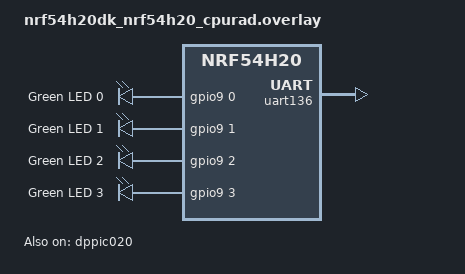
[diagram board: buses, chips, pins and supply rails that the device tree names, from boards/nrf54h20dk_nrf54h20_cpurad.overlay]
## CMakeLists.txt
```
#
# Copyright (c) 2018 Nordic Semiconductor
#
# SPDX-License-Identifier: LicenseRef-Nordic-5-Clause
#
cmake_minimum_required(VERSION 3.20.0)

find_package(Zephyr REQUIRED HINTS $ENV{ZEPHYR_BASE})
project(esb_prx)

FILE(GLOB app_sources src/*.c)
# NORDIC SDK APP START
target_sources(app PRIVATE ${app_sources})
# NORDIC SDK APP END
```

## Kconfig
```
#
# Copyright (c) 2020 Nordic Semiconductor
#
# SPDX-License-Identifier: LicenseRef-Nordic-5-Clause
#

source "Kconfig.zephyr"

menu "Enhanced ShockBurst: Receiver"

config ESB_PRX_APP_LOG_LEVEL
	int "Log level for the ESB PRX sample"
	default 4

endmenu
```

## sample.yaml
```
sample:
  name: ESB prx Sample
tests:
  sample.esb.prx:
    sysbuild: true
    filter: CONFIG_UART_CONSOLE and CONFIG_SERIAL_SUPPORT_INTERRUPT
    harness: keyboard
    integration_platforms:
      - nrf52dk/nrf52832
      - nrf52840dk/nrf52840
      - nrf52dk/nrf52810
    platform_allow: nrf52dk/nrf52832 nrf52840dk/nrf52840 nrf52dk/nrf52810
    tags: esb samples console sysbuild ci_samples_esb
  sample.esb.prx.build:
    sysbuild: true
    build_only: true
    integration_platforms:
      - nrf52dk/nrf52832
      - nrf52833dk/nrf52833
      - nrf52840dk/nrf52840
      - nrf52dk/nrf52810
      - nrf5340dk/nrf5340/cpunet
      - nrf21540dk/nrf52840
      - nrf54h20dk/nrf54h20/cpurad
      - nrf54l15dk/nrf54l15/cpuapp
    platform_allow: >
      nrf52dk/nrf52832
      nrf52833dk/nrf52833
      nrf52840dk/nrf52840
      nrf52dk/nrf52810
      nrf5340dk/nrf5340/cpunet
      nrf21540dk/nrf52840
      nrf54h20dk/nrf54h20/cpurad
      nrf54l15dk/nrf54l15/cpuapp
    tags: esb ci_build sysbuild ci_samples_esb
  sample.esb.prx.dynamic_irq:
    sysbuild: true
    build_only: true
    extra_configs:
      - CONFIG_ESB_DYNAMIC_INTERRUPTS=y
      - CONFIG_DYNAMIC_INTERRUPTS=y
      - CONFIG_DYNAMIC_DIRECT_INTERRUPTS=y
      - CONFIG_MPSL_DYNAMIC_INTERRUPTS=y
    integration_platforms:
      - nrf5340dk/nrf5340/cpunet
      - nrf52840dk/nrf52840
      - nrf54l15dk/nrf54l15/cpuapp
      - nrf54h20dk/nrf54h20/cpurad
    platform_allow: >
      nrf5340dk/nrf5340/cpunet
      nrf52840dk/nrf52840
      nrf54l15dk/nrf54l15/cpuapp
      nrf54h20dk/nrf54h20/cpurad
    tags: esb ci_build sysbuild ci_samples_esb
  sample.esb.prx.nrf5340_nrf21540:
    sysbuild: true
    build_only: true
    extra_args: SHIELD=nrf21540ek
    integration_platforms:
      - nrf5340dk/nrf5340/cpunet
    platform_allow: nrf5340dk/nrf5340/cpunet
    tags: esb ci_build sysbuild ci_samples_esb
  sample.esb.prx.fast_switching:
    sysbuild: true
    build_only: true
    extra_configs:
      - CONFIG_ESB_FAST_SWITCHING=y
      - CONFIG_ESB_FAST_CHANNEL_SWITCHING=y
    integration_platforms:
      - nrf54h20dk/nrf54h20/cpurad
    platform_allow: >
      nrf54h20dk/nrf54h20/cpurad
    tags: esb ci_build sysbuild ci_samples_esb
```

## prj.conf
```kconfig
#
# Copyright (c) 2019 Nordic Semiconductor ASA
#
# SPDX-License-Identifier: LicenseRef-Nordic-5-Clause
#
CONFIG_NCS_SAMPLES_DEFAULTS=y
CONFIG_ESB=y
CONFIG_CLOCK_CONTROL=y
CONFIG_GPIO=y
```

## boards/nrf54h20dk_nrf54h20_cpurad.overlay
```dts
/*
 * Copyright (c) 2024 Nordic Semiconductor ASA
 *
 * SPDX-License-Identifier: LicenseRef-Nordic-5-Clause
 */

 / {
	leds {
		compatible = "gpio-leds";

		led0: led_0 {
			gpios = < &gpio9 0 GPIO_ACTIVE_HIGH >;
			label = "Green LED 0";
		};

		led1: led_1 {
			gpios = < &gpio9 1 GPIO_ACTIVE_HIGH >;
			label = "Green LED 1";
		};

		led2: led_2 {
			gpios = < &gpio9 2 GPIO_ACTIVE_HIGH >;
			label = "Green LED 2";
		};

		led3: led_3 {
			gpios = < &gpio9 3 GPIO_ACTIVE_HIGH >;
			label = "Green LED 3";
		};
	};

	aliases {
		led0 = &led0;
		led1 = &led1;
		led2 = &led2;
		led3 = &led3;
	};

	chosen {
		zephyr,console = &uart136;
	};
};

&gpio9 {
	status = "okay";
};

&gpio0 {
	status = "okay";
};

&gpiote130 {
	owned-channels = <0 1 2 3 4 5 6 7>;
	status = "okay";
};

&uart136 {
	status = "okay";
	memory-regions = <&cpurad_dma_region>;
};

&uart135 {
	status = "disabled";
};

&dppic020 {
	status = "okay";
	source-channels = < 0 1 2 3 4 5 >;
	sink-channels = < 6 7 8 9 10 11 >;
};
```

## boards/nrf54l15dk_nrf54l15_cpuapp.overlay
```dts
/*
 * SPDX-License-Identifier: LicenseRef-Nordic-5-Clause
 */

&grtc {
	/* Keep the Zephyr system timer from preempting ESB event processing. */
	interrupts = <228 2>, <229 1>;
};
```

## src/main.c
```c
/*
 * Copyright (c) 2018 Nordic Semiconductor ASA
 *
 * SPDX-License-Identifier: LicenseRef-Nordic-5-Clause
 */

#include <errno.h>

#include <zephyr/device.h>
#include <zephyr/devicetree.h>
#include <zephyr/drivers/clock_control.h>
#include <zephyr/drivers/clock_control/nrf_clock_control.h>
#include <zephyr/drivers/gpio.h>
#include <zephyr/logging/log.h>

#include <esb.h>
#include <hal/nrf_dppi.h>
#include <hal/nrf_gpio.h>
#include <hal/nrf_gpiote.h>
#include <hal/nrf_ppib.h>
#include <hal/nrf_radio.h>
#include <nrfx_gpiote.h>

LOG_MODULE_REGISTER(esb_prx, CONFIG_ESB_PRX_APP_LOG_LEVEL);

#define ESB_PAYLOAD_LENGTH	8U
#define RX_PULSE_PIN		12U
#define LED1_TOGGLE_PACKET_COUNT	8U
#define LED1_NODE		DT_ALIAS(led0)
#define RX_PULSE_PORT_NODE	DT_NODELABEL(gpio1)
#define RX_PULSE_RADIO_DPPI_CHANNEL	7U
#define RX_PULSE_PERI_DPPI_CHANNEL	1U
#define RX_PULSE_PPIB_CHANNEL	1U
#define RX_PULSE_GPIOTE_INST	\
	DT_PROP(DT_PHANDLE(RX_PULSE_PORT_NODE, gpiote_instance), instance)
#define RX_PULSE_PSEL		\
	NRF_GPIO_PIN_MAP(DT_PROP(RX_PULSE_PORT_NODE, port), RX_PULSE_PIN)

BUILD_ASSERT(IS_ENABLED(_CONCAT(CONFIG_, _CONCAT(NRFX_GPIOTE,
						 RX_PULSE_GPIOTE_INST))),
	     "The P1.12 GPIOTE instance must be enabled");

static const struct device *const rx_pulse_gpio = DEVICE_DT_GET(DT_NODELABEL(gpio1));
static const struct gpio_dt_spec led1 = GPIO_DT_SPEC_GET(LED1_NODE, gpios);
static const nrfx_gpiote_t rx_pulse_gpiote =
	NRFX_GPIOTE_INSTANCE(RX_PULSE_GPIOTE_INST);
static struct esb_payload rx_payload;
static uint8_t received_packets_since_led1_toggle;

static void rx_pulse_end(void)
{
	/* Use GPIOTE's CLR task to release the same task-controlled output. */
	nrfx_gpiote_clr_task_trigger(&rx_pulse_gpiote, RX_PULSE_PSEL);
}

static int rx_pulse_initialize(void)
{
	if (!device_is_ready(rx_pulse_gpio)) {
		LOG_ERR("P1.12 GPIO is not ready");
		return -ENODEV;
	}

	return gpio_pin_configure(rx_pulse_gpio, RX_PULSE_PIN, GPIO_OUTPUT_INACTIVE);
}

static int rx_pulse_hardware_trigger_initialize(void)
{
	const nrfx_gpiote_output_config_t output_config =
	NRFX_GPIOTE_DEFAULT_OUTPUT_CONFIG;
	nrfx_gpiote_task_config_t task_config;
	uint8_t gpiote_channel;
	nrfx_err_t nrfx_err;

	if (!nrfx_gpiote_init_check(&rx_pulse_gpiote)) {
		nrfx_err = nrfx_gpiote_init(&rx_pulse_gpiote, 0);
		if (nrfx_err != NRFX_SUCCESS) {
			LOG_ERR("P1.12 GPIOTE initialization failed: 0x%08x", nrfx_err);
			return -EIO;
		}
	}

	nrfx_err = nrfx_gpiote_channel_alloc(&rx_pulse_gpiote, &gpiote_channel);
	if (nrfx_err != NRFX_SUCCESS) {
		LOG_ERR("P1.12 GPIOTE channel allocation failed: 0x%08x", nrfx_err);
		return -ENOMEM;
	}

	task_config.task_ch = gpiote_channel;
	task_config.polarity = NRF_GPIOTE_POLARITY_LOTOHI;
	task_config.init_val = NRF_GPIOTE_INITIAL_VALUE_LOW;
	nrfx_err = nrfx_gpiote_output_configure(&rx_pulse_gpiote, RX_PULSE_PSEL,
						   &output_config, &task_config);
	if (nrfx_err != NRFX_SUCCESS) {
		LOG_ERR("P1.12 GPIOTE configuration failed: 0x%08x", nrfx_err);
		return -EIO;
	}

	nrfx_gpiote_out_task_enable(&rx_pulse_gpiote, RX_PULSE_PSEL);

	/*
	 * RADIO is in the RADIO domain, while GPIOTE20 (for GPIO1) is in the
	 * PERI domain. PPIB11 and PPIB21 form the hardware bridge between them.
	 * These channels avoid ESB's fixed RADIO DPPI channels 0 through 6 and
	 * MPSL's reserved channel 0 in each peripheral.
	 */
	nrf_radio_publish_set(NRF_RADIO, NRF_RADIO_EVENT_CRCOK,
			      RX_PULSE_RADIO_DPPI_CHANNEL);
	nrf_ppib_subscribe_set(NRF_PPIB11,
			       nrf_ppib_send_task_get(RX_PULSE_PPIB_CHANNEL),
			       RX_PULSE_RADIO_DPPI_CHANNEL);
	nrf_ppib_publish_set(NRF_PPIB21,
			     nrf_ppib_receive_event_get(RX_PULSE_PPIB_CHANNEL),
			     RX_PULSE_PERI_DPPI_CHANNEL);
	nrf_gpiote_subscribe_set(
		rx_pulse_gpiote.p_reg,
		nrfx_gpiote_set_task_get(&rx_pulse_gpiote, RX_PULSE_PSEL),
		RX_PULSE_PERI_DPPI_CHANNEL);
	nrf_dppi_channels_enable(NRF_DPPIC10, BIT(RX_PULSE_RADIO_DPPI_CHANNEL));
	nrf_dppi_channels_enable(NRF_DPPIC20, BIT(RX_PULSE_PERI_DPPI_CHANNEL));

	return 0;
}

static int led1_initialize(void)
{
	if (!gpio_is_ready_dt(&led1)) {
		LOG_ERR("LED1 GPIO is not ready");
		return -ENODEV;
	}

	return gpio_pin_configure_dt(&led1, GPIO_OUTPUT_INACTIVE);
}

static void led1_toggle_after_eight_packets(void)
{
	int err;

	received_packets_since_led1_toggle++;
	if (received_packets_since_led1_toggle < LED1_TOGGLE_PACKET_COUNT) {
		return;
	}

	received_packets_since_led1_toggle = 0U;
	err = gpio_pin_toggle_dt(&led1);
	if (err) {
		LOG_ERR("LED1 toggle failed: %d", err);
	}
}

static void event_handler(const struct esb_evt *event)
{
	if (event->evt_id != ESB_EVENT_RX_RECEIVED) {
		return;
	}

	/* CRCOK raised P1.12 in hardware; end it when ESB delivers the packet. */
	rx_pulse_end();

	while (esb_read_rx_payload(&rx_payload) == 0) {
		led1_toggle_after_eight_packets();
	}
}

static int hfclk_start(void)
{
	int err;
	int res;
	struct onoff_manager *clk_mgr;
	struct onoff_client clk_cli;

	clk_mgr = z_nrf_clock_control_get_onoff(CLOCK_CONTROL_NRF_SUBSYS_HF);
	if (!clk_mgr) {
		LOG_ERR("Unable to get the HF clock manager");
		return -ENXIO;
	}

	sys_notify_init_spinwait(&clk_cli.notify);

	err = onoff_request(clk_mgr, &clk_cli);
	if (err < 0) {
		LOG_ERR("HF clock request failed: %d", err);
		return err;
	}

	do {
		err = sys_notify_fetch_result(&clk_cli.notify, &res);
		if (!err && res) {
			LOG_ERR("HF clock could not start: %d", res);
			return res;
		}
	} while (err);

	return 0;
}

static int esb_initialize(void)
{
	int err;
	uint8_t base_addr_0[4] = {0xE7, 0xE7, 0xE7, 0xE7};
	uint8_t base_addr_1[4] = {0xC2, 0xC2, 0xC2, 0xC2};
	uint8_t addr_prefix[8] = {0xE7, 0xC2, 0xC3, 0xC4,
				  0xC5, 0xC6, 0xC7, 0xC8};
	struct esb_config config = ESB_DEFAULT_CONFIG;

	config.protocol = ESB_PROTOCOL_ESB_DPL;
	config.payload_length = ESB_PAYLOAD_LENGTH;
	config.bitrate = ESB_BITRATE_2MBPS;
	config.mode = ESB_MODE_PRX;
	config.event_handler = event_handler;
	config.selective_auto_ack = true;
	if (IS_ENABLED(CONFIG_ESB_FAST_SWITCHING)) {
		config.use_fast_ramp_up = true;
	}

	err = esb_init(&config);
	if (err) {
		return err;
	}

	err = esb_set_base_address_0(base_addr_0);
	if (err) {
		return err;
	}

	err = esb_set_base_address_1(base_addr_1);
	if (err) {
		return err;
	}

	return esb_set_prefixes(addr_prefix, ARRAY_SIZE(addr_prefix));
}

int main(void)
{
	int err;

	err = rx_pulse_initialize();
	if (err) {
		LOG_ERR("P1.12 initialization failed: %d", err);
		return 0;
	}

	err = led1_initialize();
	if (err) {
		LOG_ERR("LED1 initialization failed: %d", err);
		return 0;
	}

	err = hfclk_start();
	if (err) {
		return 0;
	}

	err = esb_initialize();
	if (err) {
		LOG_ERR("ESB initialization failed: %d", err);
		return 0;
	}

	err = rx_pulse_hardware_trigger_initialize();
	if (err) {
		LOG_ERR("P1.12 hardware marker initialization failed: %d", err);
		return 0;
	}

	err = esb_start_rx();
	if (err) {
		LOG_ERR("ESB RX start failed: %d", err);
	}

	return 0;
}
```
